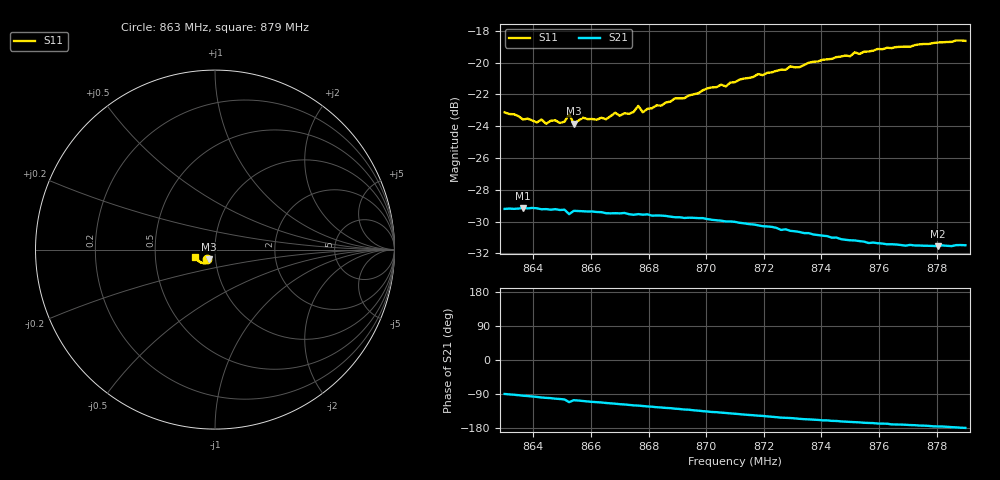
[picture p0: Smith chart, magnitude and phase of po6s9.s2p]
# HZ S RI R 50
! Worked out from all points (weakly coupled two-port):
!   101 points, 863 MHz to 879 MHz, reference 50 ohm
!   highest |S21| = -29.14 dB at 863.64 MHz (marker M1); lowest = -31.5 dB at 878.04 MHz (marker M2)
!   lowest |S11| = -23.8 dB at 865.4 MHz (marker M3), VSWR 1.14, Z = 46.4 - j5.05 ohm
!   |S11| at or under -10 dB: start of sweep to end of sweep
!   S12 and S22 are empty: the file has one direction only
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8.63e8  -0.0453 -0.0531  0.00024 -0.0347  0 0  0 0
8.6364e8  -0.0412 -0.0519  -0.00262 -0.0348  0 0  0 0
8.6492e8  -0.0366 -0.0532  -0.00772 -0.0335  0 0  0 0
8.6508e8  -0.0352 -0.0548  -0.0084 -0.0334  0 0  0 0
8.6524e8  -0.0411 -0.0552  -0.012 -0.0311  0 0  0 0
8.654e8  -0.0344 -0.0542  -0.00949 -0.0328  0 0  0 0
8.6572e8  -0.0354 -0.057  -0.0106 -0.0324  0 0  0 0
8.6652e8  -0.0319 -0.0582  -0.0133 -0.0308  0 0  0 0
8.6684e8  -0.0347 -0.0603  -0.0143 -0.0304  0 0  0 0
8.67e8  -0.0331 -0.0595  -0.015 -0.03  0 0  0 0
8.6748e8  -0.0331 -0.0617  -0.0165 -0.0288  0 0  0 0
8.6764e8  -0.0353 -0.064  -0.0168 -0.0288  0 0  0 0
8.678e8  -0.034 -0.061  -0.0173 -0.0284  0 0  0 0
8.6844e8  -0.0346 -0.0645  -0.0191 -0.027  0 0  0 0
8.6892e8  -0.0363 -0.0682  -0.0203 -0.0256  0 0  0 0
8.6924e8  -0.0372 -0.0678  -0.0212 -0.0246  0 0  0 0
8.7004e8  -0.0421 -0.0716  -0.0231 -0.0224  0 0  0 0
8.71e8  -0.0466 -0.0733  -0.0248 -0.0195  0 0  0 0
8.7372e8  -0.067 -0.0751  -0.0266 -0.0111  0 0  0 0
8.7644e8  -0.0916 -0.0629  -0.0264 -0.00471  0 0  0 0
8.7804e8  -0.1041 -0.0505  -0.0264 -0.00213  0 0  0 0
8.79e8  -0.1098 -0.0406  -0.0266 -0.000378  0 0  0 0
